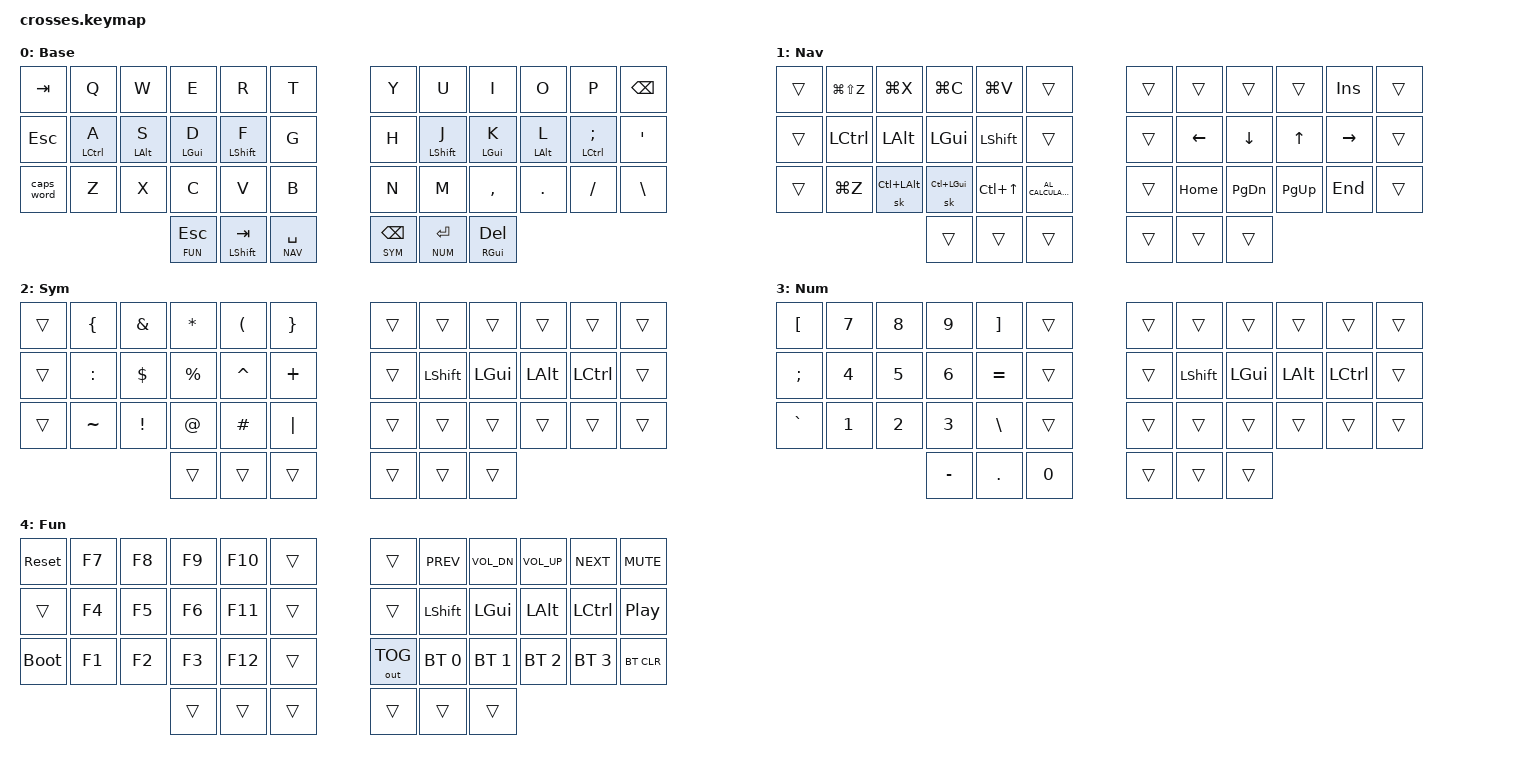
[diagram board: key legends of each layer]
/*
 * Ergonomic 42-key GGGW Crosses (3x6+3) keymap for macOS
 * Designed to reduce pinky load and reaching (ulnar-nerve friendly)
 *
 * Loads directly in https://nickcoutsos.github.io/keymap-editor/
 * Builds for shields: crosses_left / crosses_right
 *
 * Layers:   0 BASE | 1 NAV | 2 SYM | 3 NUM | 4 FUN
 *
 * Physical key positions (for combos / hold-trigger tuning):
 *    0  1  2  3  4  5        6  7  8  9 10 11
 *   12 13 14 15 16 17       18 19 20 21 22 23
 *   24 25 26 27 28 29       30 31 32 33 34 35
 *            36 37 38       39 40 41
 */

#include <behaviors.dtsi>
#include <dt-bindings/zmk/keys.h>
#include <dt-bindings/zmk/bt.h>
#include <dt-bindings/zmk/outputs.h>

#define BASE 0
#define NAV  1
#define SYM  2
#define NUM  3
#define FUN  4

/ {
    // Bind this keymap to the GGGW Crosses 42-key physical layout.
    // This label is provided by the gggw-zmk-keebs module (see config/west.yml).
    chosen { zmk,physical-layout = &gggw_crosses_42_layout; };

    behaviors {
        // Home-row mods, left hand. Only fires the modifier if a key on the
        // OTHER hand (or a thumb) is pressed -> almost no accidental mods.
        hml: home_row_mod_left {
            compatible = "zmk,behavior-hold-tap";
            #binding-cells = <2>;
            flavor = "balanced";
            tapping-term-ms = <280>;
            quick-tap-ms = <175>;
            require-prior-idle-ms = <150>;
            bindings = <&kp>, <&kp>;
            hold-trigger-key-positions = <6 7 8 9 10 11 18 19 20 21 22 23 30 31 32 33 34 35 36 37 38 39 40 41>;
            hold-trigger-on-release;
        };

        // Home-row mods, right hand.
        hmr: home_row_mod_right {
            compatible = "zmk,behavior-hold-tap";
            #binding-cells = <2>;
            flavor = "balanced";
            tapping-term-ms = <280>;
            quick-tap-ms = <175>;
            require-prior-idle-ms = <150>;
            bindings = <&kp>, <&kp>;
            hold-trigger-key-positions = <0 1 2 3 4 5 12 13 14 15 16 17 24 25 26 27 28 29 36 37 38 39 40 41>;
            hold-trigger-on-release;
        };

        // Thumb layer-taps: forgiving "balanced" flavor so quick taps register.
        lt_bal: layer_tap_balanced {
            compatible = "zmk,behavior-hold-tap";
            #binding-cells = <2>;
            flavor = "balanced";
            tapping-term-ms = <200>;
            quick-tap-ms = <175>;
            bindings = <&mo>, <&kp>;
        };
    };

    combos {
        compatible = "zmk,combos";

        // Parentheses without leaving the base layer
        combo_lpar { key-positions = <3 4>; bindings = <&kp LPAR>; timeout-ms = <45>; };
        combo_rpar { key-positions = <7 8>; bindings = <&kp RPAR>; timeout-ms = <45>; };

        // Both top outer corners together -> firmware flash mode (deliberate, hard to hit)
        combo_boot { key-positions = <0 11>; bindings = <&bootloader>; timeout-ms = <60>; };
    };

    keymap {
        compatible = "zmk,keymap";

        base_layer {
            display-name = "Base";
            bindings = <
&kp TAB     &kp Q          &kp W          &kp E          &kp R           &kp T            &kp Y            &kp U          &kp I          &kp O          &kp P             &kp BSPC
&kp ESC     &hml LCTRL A   &hml LALT S    &hml LGUI D    &hml LSHFT F    &kp G            &kp H           &hmr LSHFT J   &hmr LGUI K    &hmr LALT L    &hmr LCTRL SEMI   &kp SQT
&caps_word  &kp Z          &kp X          &kp C          &kp V           &kp B            &kp N           &kp M          &kp COMMA      &kp DOT        &kp FSLH          &kp BSLH
                                          &lt_bal FUN ESC  &mt LSHFT TAB  &lt_bal NAV SPACE   &lt_bal SYM BSPC  &lt_bal NUM RET  &mt RGUI DEL
            >;
        };

        nav_layer {
            display-name = "Nav";
            bindings = <
&trans      &kp LG(LS(Z))  &kp LG(X)      &kp LG(C)      &kp LG(V)       &trans           &trans          &trans         &trans         &trans         &kp INS           &trans
&trans      &kp LCTRL      &kp LALT       &kp LGUI       &kp LSHFT       &trans           &trans          &kp LEFT       &kp DOWN       &kp UP         &kp RIGHT         &trans
&trans      &kp LG(Z)      &sk LC(LALT)   &sk LC(LGUI)   &kp LC(UP)      &kp C_AL_CALCULATOR  &trans      &kp HOME       &kp PG_DN      &kp PG_UP      &kp END           &trans
                                          &trans         &trans         &trans           &trans          &trans         &trans
            >;
        };

        sym_layer {
            display-name = "Sym";
            bindings = <
&trans      &kp LBRC       &kp AMPS       &kp ASTRK      &kp LPAR        &kp RBRC         &trans          &trans         &trans         &trans         &trans            &trans
&trans      &kp COLON      &kp DLLR       &kp PRCNT      &kp CARET       &kp PLUS         &trans          &kp LSHFT      &kp LGUI       &kp LALT       &kp LCTRL         &trans
&trans      &kp TILDE      &kp EXCL       &kp AT         &kp HASH        &kp PIPE         &trans          &trans         &trans         &trans         &trans            &trans
                                          &trans         &trans         &trans           &trans          &trans         &trans
            >;
        };

        num_layer {
            display-name = "Num";
            bindings = <
&kp LBKT    &kp N7         &kp N8         &kp N9         &kp RBKT        &trans           &trans          &trans         &trans         &trans         &trans            &trans
&kp SEMI    &kp N4         &kp N5         &kp N6         &kp EQUAL       &trans           &trans          &kp LSHFT      &kp LGUI       &kp LALT       &kp LCTRL         &trans
&kp GRAVE   &kp N1         &kp N2         &kp N3         &kp BSLH        &trans           &trans          &trans         &trans         &trans         &trans            &trans
                                          &kp MINUS      &kp DOT        &kp N0           &trans          &trans         &trans
            >;
        };

        fun_layer {
            display-name = "Fun";
            bindings = <
&sys_reset  &kp F7         &kp F8         &kp F9         &kp F10         &trans           &trans          &kp C_PREV     &kp C_VOL_DN   &kp C_VOL_UP   &kp C_NEXT        &kp C_MUTE
&trans      &kp F4         &kp F5         &kp F6         &kp F11         &trans           &trans          &kp LSHFT      &kp LGUI       &kp LALT       &kp LCTRL         &kp C_PP
&bootloader &kp F1         &kp F2         &kp F3         &kp F12         &trans           &out OUT_TOG     &bt BT_SEL 0   &bt BT_SEL 1   &bt BT_SEL 2   &bt BT_SEL 3      &bt BT_CLR
                                          &trans         &trans         &trans           &trans          &trans         &trans
            >;
        };
    };
};
